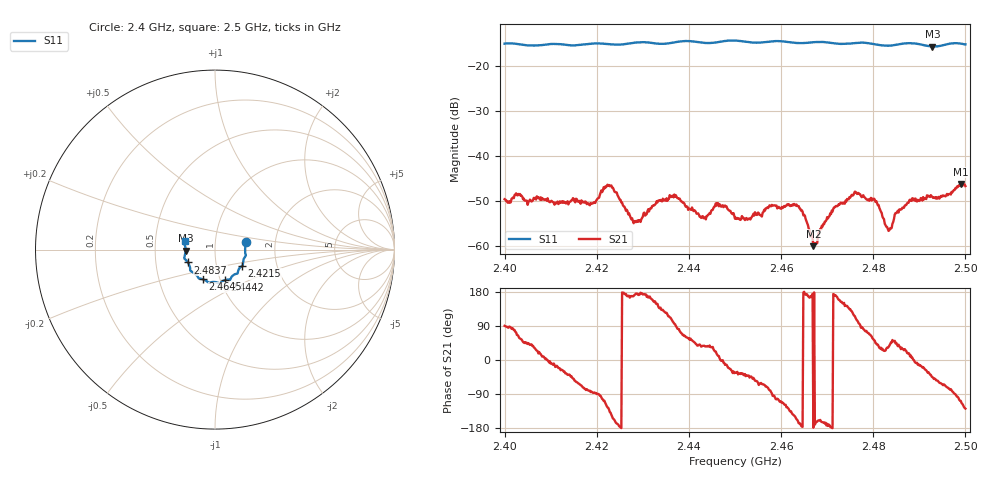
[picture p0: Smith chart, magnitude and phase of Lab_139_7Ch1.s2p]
# Hz S RI R 50
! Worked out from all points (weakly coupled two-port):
!   601 points, 2.4 GHz to 2.5 GHz, reference 50 ohm
!   highest |S21| = -46.25 dB at 2.499 GHz (marker M1); lowest = -60.0 dB at 2.467 GHz (marker M2)
!   lowest |S11| = -15.7 dB at 2.4928 GHz (marker M3), VSWR 1.39, Z = 35.9 - j0.385 ohm
!   |S11| at or under -10 dB: start of sweep to end of sweep
!   S12 and S22 are empty: the file has one direction only
!   S11 on the Smith chart (normalised r, x): 2.4 GHz: 1.41, +0.12; 2.4215 GHz: 1.33, -0.25; 2.4442 GHz: 1.05, -0.37; 2.4645 GHz: 0.83, -0.29; 2.4837 GHz: 0.73, -0.11; 2.5 GHz: 0.71, +0.07
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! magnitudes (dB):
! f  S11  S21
! 2.4 GHz  -15.1  -49.6
! 2.4167 GHz  -15.3  -49.9
! 2.4215 GHz  -15.1  -47.0
! 2.4232 GHz  -15.2  -46.6
! 2.4283 GHz  -14.9  -54.5
! 2.4333 GHz  -15.1  -49.9
! 2.4368 GHz  -14.8  -48.6
! 2.4442 GHz  -15.0  -53.1
! 2.4463 GHz  -14.7  -50.5
! 2.45 GHz  -14.4  -54.0
! 2.4645 GHz  -15.0  -52.0
! 2.4667 GHz  -14.8  -57.4
! 2.467 GHz  -14.8  -60.0
! 2.4715 GHz  -15.0  -51.4
! 2.4763 GHz  -14.9  -48.2
! 2.4807 GHz  -15.3  -50.0
! 2.4833 GHz  -15.5  -56.7
! 2.4837 GHz  -15.5  -56.1
! 2.488 GHz  -15.0  -49.7
! 2.4928 GHz  -15.7  -49.1
! 2.499 GHz  -15.1  -46.2
! 2.5 GHz  -15.3  -46.7
